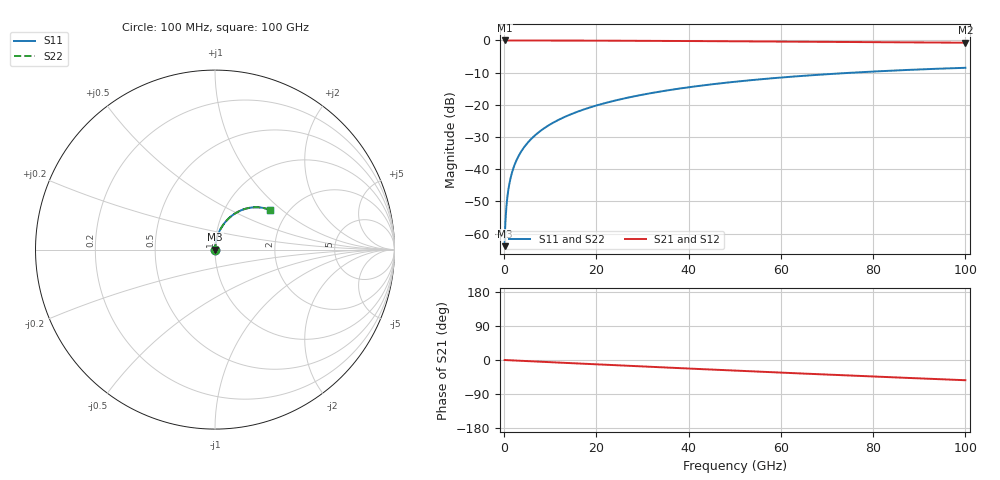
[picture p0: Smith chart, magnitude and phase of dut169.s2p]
! Touchstone file exported from HFSS 2026.1.0
!  File:  C:/ffzhzh/LocalFiles/Ansys_Project_Files/temp_train_TSV_169_1783506927_31944.aedt
!  Generated:  06:36:46 PM Jul  8, 2026
!  Design:  TSV
!  Project:  temp_train_TSV_169_1783506927_31944
! Variables:
!  h_bsmrdl = 2um
!  h_ox = 20um
!  h_rdl = 5um
!  h_sub = 97.39um
!  h_tmrdl = 5um
!  h_tsv = 97.39um
!  h_via = 3um
!  l_bsmrdl = 300um
!  l_sub = 412.02um
!  l_tmrdl = 200um
!  m_sub = 200um
!  pitch = 54.67um
!  r_tsv = 6.01um
!  s_tmrdl = 10um
!  w_bsmrdl = 18um
!  w_sub = 500um
!  w_tmrdl = 12um
!  x_tsv_center1 = 206um
!  x_tsv_center2 = 524um
!  x_tsv_center3 = 736um
!  x_tsv_center4 = 1054um
!  x_tsv_center5 = 1266um
!  x_tsv_center6 = 1584um
# GHz S MA R 50.000000
! Terminal data exported
! Port[1] = TSV1_1_T1
! Port[2] = TSV1_1_T2
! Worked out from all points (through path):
!   1000 points, 100 MHz to 100 GHz, reference 50 ohm
!   highest |S21| = 0.00 dB at 100 MHz (marker M1); lowest = -0.7 dB at 100 GHz (marker M2)
!   group delay of S21, straight-line fit = 1.48 ps
!   lowest |S11| = -63.9 dB at 100 MHz (marker M3), VSWR 1.00, Z = 50 + j0.0542 ohm
!   |S11| at or under -10 dB: start of sweep to 75.59 GHz
!   |S22| runs from -63.9 to -8.5 dB; largest |S21 - S12| = 3.4e-15
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0.1  0.000639 57.9  0.9997 -0.1  0.9997 -0.1  0.000639 57.9
! Gamma 0 0 0 0
! Port Impedance 50 0 50 0
0.4  0.00216 79.6  0.9996 -0.2  0.9996 -0.2  0.00216 79.6
0.7  0.003713 83.1  0.9996 -0.4  0.9996 -0.4  0.003713 83.1
0.8  0.004232 83.7  0.9996 -0.5  0.9996 -0.5  0.004232 83.7
1  0.005266 84.4  0.9995 -0.6  0.9995 -0.6  0.005266 84.4
1.3  0.006813 84.9  0.9995 -0.8  0.9995 -0.8  0.006813 84.9
1.7  0.00886 85.2  0.9994 -1.0  0.9994 -1.0  0.00886 85.2
2.3  0.0119 85.3  0.9992 -1.3  0.9992 -1.3  0.0119 85.3
3  0.0154 85.2  0.9991 -1.8  0.9991 -1.8  0.0154 85.2
3.8  0.01937 85.0  0.9989 -2.2  0.9989 -2.2  0.01937 85.0
4.8  0.02431 84.7  0.9986 -2.8  0.9986 -2.8  0.02431 84.7
6  0.03022 84.3  0.9984 -3.5  0.9984 -3.5  0.03022 84.3
8.8  0.04393 83.1  0.9976 -5.1  0.9976 -5.1  0.04393 83.1
12.4  0.06143 81.3  0.9964 -7.1  0.9964 -7.1  0.06143 81.3
16.8  0.08254 79.0  0.9946 -9.6  0.9946 -9.6  0.08254 79.0
24.2  0.1173 75.1  0.9907 -13.8  0.9907 -13.8  0.1173 75.1
33.4  0.159 70.1  0.9845 -18.9  0.9845 -18.9  0.159 70.1
41.2  0.1925 65.9  0.9783 -23.2  0.9783 -23.2  0.1925 65.9
50.1  0.2286 61.2  0.9703 -28.0  0.9703 -28.0  0.2286 61.2
66.7  0.2884 52.6  0.9539 -36.8  0.9539 -36.8  0.2884 52.6
83.4  0.338 44.2  0.9373 -45.2  0.9373 -45.2  0.338 44.2
100  0.3761 36.1  0.9224 -53.4  0.9224 -53.4  0.3761 36.1
